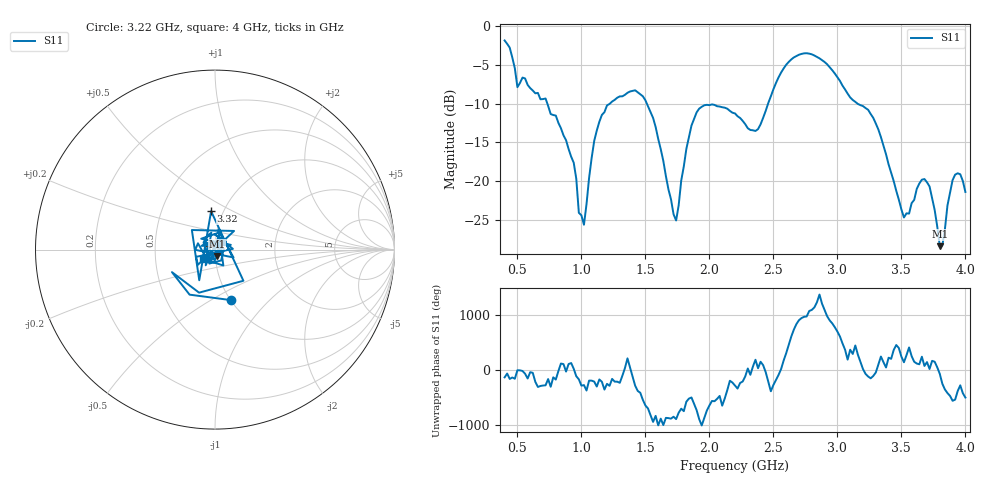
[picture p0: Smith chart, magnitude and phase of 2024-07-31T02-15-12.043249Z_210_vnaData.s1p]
!Created with skrf (http://scikit-rf.org).
# Hz S RI R 50.0
!freq ReS11 ImS11
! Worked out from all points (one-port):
!   181 points, 400 MHz to 4 GHz, reference 50 ohm
!   lowest |S11| = -28.4 dB at 3.8 GHz (marker M1), VSWR 1.08, Z = 51 - j3.69 ohm
!   |S11| at or under -10 dB: 733.6 MHz to 1.223 GHz (489.5 MHz wide, 50 % of centre); 1.511 GHz to 2.459 GHz (947.5 MHz wide, 47.7 % of centre); 3.156 GHz to end of sweep
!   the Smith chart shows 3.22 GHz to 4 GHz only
!   S11 on the Smith chart (normalised r, x): 3.22 GHz: 1.01, -0.62; 3.32 GHz: 0.88, +0.39; 4 GHz: 0.87, -0.09
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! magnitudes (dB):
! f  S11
! 400 MHz  -1.9
! 500 MHz  -7.9
! 720 MHz  -9.3
! 860 MHz  -14.1
! 940 MHz  -17.6
! 980 MHz  -24.1
! 1.02 GHz  -25.7
! 1.12 GHz  -13.5
! 1.3 GHz  -9.1
! 1.5 GHz  -9.6
! 1.72 GHz  -24.3
! 1.76 GHz  -23.1
! 1.82 GHz  -15.9
! 1.9 GHz  -11.1
! 2.2 GHz  -11.3
! 2.38 GHz  -13.3
! 2.66 GHz  -4.0
! 2.86 GHz  -4.2
! 3.1 GHz  -9.2
! 3.22 GHz  -10.6
! 3.32 GHz  -13.4
! 3.52 GHz  -24.7
! 3.56 GHz  -24.2
! 3.68 GHz  -19.8
! 3.72 GHz  -20.7
! 3.8 GHz  -28.4
! 3.92 GHz  -19.2
! 4 GHz  -21.4
